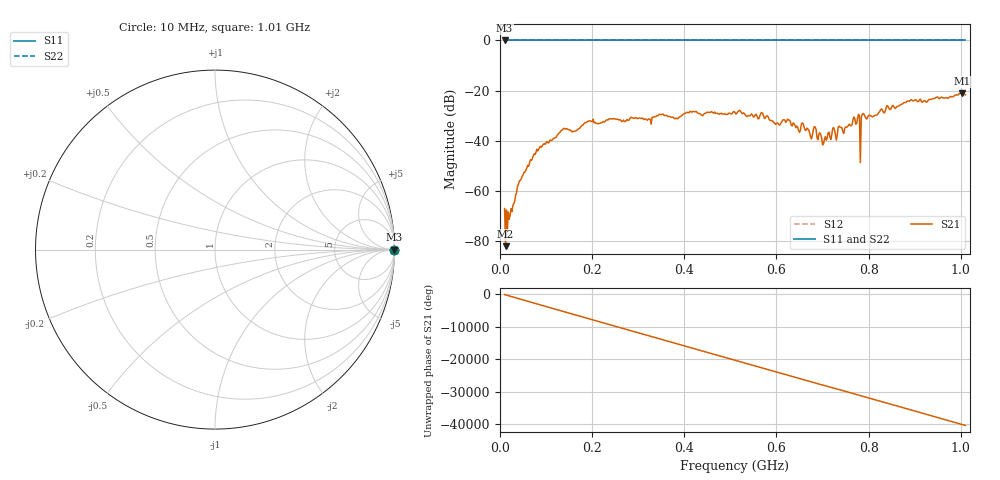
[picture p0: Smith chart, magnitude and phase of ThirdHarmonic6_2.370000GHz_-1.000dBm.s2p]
! 8/17/2025 3:42:16 AM
! C:\ANRITSUVNA\TEMP\TEMP.S2P
! CHANNEL.1
! TR.MEASUREMENT
! RAW.DATA
! RF.CORRECTION.OFF
! AVERAGING.OFF
! IF.BANDWIDTH: 5KHZ
! SWEEPTYPE:  FREQ.SWEEP(Linear)
! Reference Plane Port Info
! PORT:  PORT1  PORT2
! DISTANCE:  0  m  0  m
! TIME:  0  s  0  s
! PHASE.OFFSET:  0  deg.  0  deg.
! LOSS:  0  dB  0  dB
! REF.LOSS:  0  dB  0  dB
! REF.FREQ:  0  Hz  0  Hz
! Power Info
! POWER:  -20  dBm  -20  dBm
! EFF.POWER:  -20  dBm  -20  dBm
! SOURCE.ATTEN:  0  dB  0  dB
! TEST.ATTEN:  0  dB  0  dB
# GHZ S RI R 50.0
! FREQ.GHZ  S11RE  S11IM  S21RE  S21IM  S12RE  S12IM  S22RE  S22IM
!; PortSelection: Port_12
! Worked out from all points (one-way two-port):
!   501 points, 10 MHz to 1.01 GHz, reference 50 ohm
!   highest |S21| = -21.02 dB at 1.002 GHz (marker M1); lowest = -82.1 dB at 12 MHz (marker M2)
!   lowest |S11| = 0.0 dB at 10 MHz (marker M3)
!   |S11| at or under -10 dB: nowhere
!   |S22| runs from 0.0 to 0.0 dB; largest |S21 - S12| = 1.1
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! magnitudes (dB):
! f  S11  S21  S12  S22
! 10 MHz  0.0  -67.1  0.0  0.0
! 12 MHz  0.0  -82.1  0.0  0.0
! 16 MHz  0.0  -76.0  0.0  0.0
! 44 MHz  0.0  -55.8  0.0  0.0
! 84 MHz  0.0  -43.3  0.0  0.0
! 136 MHz  0.0  -35.6  0.0  0.0
! 178 MHz  0.0  -33.9  0.0  0.0
! 344 MHz  0.0  -29.8  0.0  0.0
! 510 MHz  0.0  -28.7  0.0  0.0
! 568 MHz  0.0  -28.7  0.0  0.0
! 602 MHz  0.0  -32.9  0.0  0.0
! 626 MHz  0.0  -31.7  0.0  0.0
! 678 MHz  0.0  -37.7  0.0  0.0
! 684 MHz  0.0  -34.5  0.0  0.0
! 704 MHz  0.0  -39.5  0.0  0.0
! 776 MHz  0.0  -30.9  0.0  0.0
! 778 MHz  0.0  -29.5  0.0  0.0
! 786 MHz  0.0  -29.6  0.0  0.0
! 788 MHz  0.0  -29.1  0.0  0.0
! 844 MHz  0.0  -27.0  0.0  0.0
! 1.002 GHz  0.0  -21.0  0.0  0.0
! 1.01 GHz  0.0  -21.6  0.0  0.0
